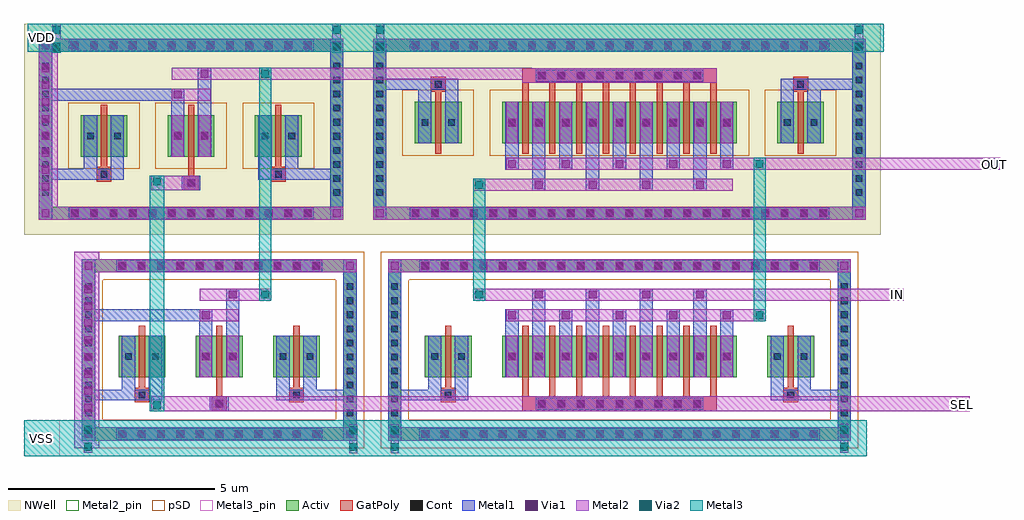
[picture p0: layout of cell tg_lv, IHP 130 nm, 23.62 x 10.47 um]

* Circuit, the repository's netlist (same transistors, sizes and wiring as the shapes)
* Extracted by KLayout with SG13G2 LVS runset on : 16/03/2026 17:51

.SUBCKT tg_lv VSS SEL OUT IN VDD
M$1 VSS VSS VSS VSS sg13_lv_nmos L=0.15u W=4u AS=1.96p AD=1.96p PS=11.92u
+ PD=11.92u
M$2 VSS SEL \$6 VSS sg13_lv_nmos L=0.15u W=1u AS=0.49p AD=0.49p PS=2.98u
+ PD=2.98u
M$5 OUT SEL IN VSS sg13_lv_nmos L=0.15u W=8u AS=2.24p AD=2.24p PS=13.48u
+ PD=13.48u
M$14 VDD VDD VDD VDD sg13_lv_pmos L=0.15u W=4u AS=1.96p AD=1.96p PS=11.92u
+ PD=11.92u
M$15 VDD SEL \$6 VDD sg13_lv_pmos L=0.15u W=1u AS=0.49p AD=0.49p PS=2.98u
+ PD=2.98u
M$18 OUT \$6 IN VDD sg13_lv_pmos L=0.15u W=8u AS=2.24p AD=2.24p PS=13.48u
+ PD=13.48u
.ENDS tg_lv

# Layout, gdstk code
from math import pi, radians
import gdstk
lib = gdstk.Library(unit=1e-6, precision=5e-09)
def R(c, l, rs):  # rectangles x0, y0, x1, y1
    for r in rs: c.add(gdstk.rectangle(r[:2], r[2:], *l))
def A(c, l, x, y, w, h, nx, ny, dx, dy):  # array of equal rectangles
    R(c, l, [(x+i*dx, y+j*dy, x+i*dx+w, y+j*dy+h) for i in range(nx) for j in range(ny)])
def P(c, l, *ps):  # polygons
    for p in ps: c.add(gdstk.Polygon(p, *l))
Activ = (1, 0)
GatPoly = (5, 0)
Cont = (6, 0)
Metal1 = (8, 0)
Metal2 = (10, 0)
Metal2_pin = (10, 2)
pSD = (14, 0)
Via1 = (19, 0)
Via2 = (29, 0)
Metal3 = (30, 0)
Metal3_pin = (30, 2)
NWell = (31, 0)

via_stack_1 = lib.new_cell('via_stack$1')
R(via_stack_1, Metal2, [(-0.1,-0.35,0.1,0.35)])
R(via_stack_1, Via2, [(-0.095,-0.3,0.095,-0.11), (-0.095,0.11,0.095,0.3)])
R(via_stack_1, Metal3, [(-0.1,-0.35,0.1,0.35)])

via_stack = lib.new_cell('via_stack')
R(via_stack, Metal1, [(-0.105,-1.58,0.105,1.58)])
R(via_stack, Metal2, [(-0.1,-1.58,0.1,1.58)])
A(via_stack, Via1, -0.095, -1.53, 0.19, 0.19, 1, 8, 0, 0.41)

tg_lv = lib.new_cell('tg_lv')
A(tg_lv, Activ, -12.195, -2.195, 0.32, 0.32, 11, 2, 0.47, 4.07)
A(tg_lv, Activ, -4.86, -2.195, 0.32, 0.32, 21, 2, 0.47, 4.07)
A(tg_lv, Activ, -13.01, -1.69, 0.32, 0.32, 1, 10, 0, 0.34)
A(tg_lv, Activ, -6.68, -1.69, 0.32, 0.32, 1, 10, 0, 0.34)
A(tg_lv, Activ, -5.6, -1.69, 0.32, 0.32, 1, 10, 0, 0.34)
A(tg_lv, Activ, 5.28, -1.69, 0.32, 0.32, 1, 10, 0, 0.34)
A(tg_lv, Activ, -12.12, -0.66, 1.13, 1, 3, 1, 1.87, 0)
A(tg_lv, Activ, -13.345, 3.145, 0.32, 0.32, 13, 2, 0.47, 4.07)
A(tg_lv, Activ, -5.095, 3.145, 0.32, 0.32, 22, 2, 0.47, 4.07)
A(tg_lv, Activ, -14.05, 3.65, 0.32, 0.32, 1, 10, 0, 0.34)
A(tg_lv, Activ, -7, 3.65, 0.32, 0.32, 1, 10, 0, 0.34)
A(tg_lv, Activ, -5.96, 3.65, 0.32, 0.32, 1, 10, 0, 0.34)
A(tg_lv, Activ, 5.64, 3.65, 0.32, 0.32, 1, 10, 0, 0.34)
A(tg_lv, Activ, -13.04, 4.68, 1.13, 1, 3, 1, 2.11, 0)
R(tg_lv, Activ, [(-12.195,-2.195,-7.175,-1.875), (-4.86,-2.195,4.86,-1.875), (-13.01,-1.69,-12.69,1.69), (-6.68,-1.69,-6.36,1.69), (-5.6,-1.69,-5.28,1.69), (5.28,-1.69,5.6,1.69), (-4.71,-0.66,-3.58,0.34), (-2.84,-0.66,2.84,0.34), (3.58,-0.66,4.71,0.34), (-12.195,1.875,-7.175,2.195), (-4.86,1.875,4.86,2.195), (-13.345,3.145,-7.385,3.465), (-5.095,3.145,5.095,3.465), (-14.05,3.65,-13.73,7.03), (-7,3.65,-6.68,7.03), (-5.96,3.65,-5.64,7.03), (5.64,3.65,5.96,7.03), (-4.95,5,-3.82,6), (-2.84,5,2.84,6), (3.82,5,4.95,6), (-13.345,7.215,-7.385,7.535), (-5.095,7.215,5.095,7.535)])
P(tg_lv, Activ, [(-5.6,-2.195),(-5.6,-1.875),(-5.28,-1.875),(5.28,-1.875),(5.28,1.875),(-5.28,1.875),(-5.28,-1.875),(-5.6,-1.875),(-5.6,2.195),(5.6,2.195),(5.6,-2.195)],
  [(-13.01,-2.195),(-13.01,-1.875),(-12.69,-1.875),(-6.68,-1.875),(-6.68,1.875),(-12.69,1.875),(-12.69,-1.875),(-13.01,-1.875),(-13.01,2.195),(-6.36,2.195),(-6.36,-2.195)],
  [(-14.05,3.145),(-14.05,3.465),(-13.73,3.465),(-7,3.465),(-7,7.215),(-13.73,7.215),(-13.73,3.465),(-14.05,3.465),(-14.05,7.535),(-6.68,7.535),(-6.68,3.145)],
  [(-5.96,3.145),(-5.96,7.215),(-5.64,7.215),(-5.64,3.465),(5.64,3.465),(5.64,7.215),(-5.64,7.215),(-5.96,7.215),(-5.96,7.535),(5.96,7.535),(5.96,3.145)])
A(tg_lv, GatPoly, -2.35, -1.12, 0.15, 0.21, 8, 2, 0.65, 7.37)
A(tg_lv, GatPoly, -11.63, -0.91, 0.15, 1.5, 3, 1, 1.87, 0)
A(tg_lv, GatPoly, -2.35, -0.91, 0.15, 1.5, 8, 2, 0.65, 5.66)
A(tg_lv, GatPoly, -12.55, 4.43, 0.15, 1.5, 3, 1, 2.11, 0)
R(tg_lv, GatPoly, [(-9.865,-1.48,-9.505,-1.12), (-9.865,-1.48,-9.505,-1.12), (-9.865,-1.48,-9.505,-1.12), (-9.865,-1.48,-9.505,-1.12), (-2.35,-1.48,2.35,-1.12), (-2.35,-1.48,2.35,-1.12), (-2.06,-1.48,-1.7,-1.12), (-2.06,-1.48,-1.7,-1.12), (-1.59,-1.48,-1.23,-1.12), (-1.59,-1.48,-1.23,-1.12), (-1.12,-1.48,-0.76,-1.12), (-1.12,-1.48,-0.76,-1.12), (-0.65,-1.48,-0.29,-1.12), (-0.65,-1.48,-0.29,-1.12), (-0.18,-1.48,0.18,-1.12), (-0.18,-1.48,0.18,-1.12), (0.29,-1.48,0.65,-1.12), (0.29,-1.48,0.65,-1.12), (0.76,-1.48,1.12,-1.12), (0.76,-1.48,1.12,-1.12), (1.23,-1.48,1.59,-1.12), (1.23,-1.48,1.59,-1.12), (1.7,-1.48,2.06,-1.12), (1.7,-1.48,2.06,-1.12), (-11.735,-1.27,-11.375,-0.91), (-11.735,-1.27,-11.375,-0.91), (-7.995,-1.27,-7.635,-0.91), (-7.995,-1.27,-7.635,-0.91), (-4.325,-1.27,-3.965,-0.91), (-4.325,-1.27,-3.965,-0.91), (3.965,-1.27,4.325,-0.91), (3.965,-1.27,4.325,-0.91), (-9.76,-1.12,-9.61,-0.91), (-4.22,-0.91,-4.07,0.59), (4.07,-0.91,4.22,0.59), (-10.545,3.86,-10.185,4.22), (-10.545,3.86,-10.185,4.22), (-10.545,3.86,-10.185,4.22), (-10.545,3.86,-10.185,4.22), (-12.655,4.07,-12.295,4.43), (-12.655,4.07,-12.295,4.43), (-8.435,4.07,-8.075,4.43), (-8.435,4.07,-8.075,4.43), (-10.44,4.22,-10.29,4.43), (-4.46,4.75,-4.31,6.25), (4.31,4.75,4.46,6.25), (-4.565,6.25,-4.205,6.61), (-4.565,6.25,-4.205,6.61), (4.205,6.25,4.565,6.61), (4.205,6.25,4.565,6.61), (-2.35,6.46,2.35,6.82), (-2.35,6.46,2.35,6.82), (-2.06,6.46,-1.7,6.82), (-2.06,6.46,-1.7,6.82), (-1.59,6.46,-1.23,6.82), (-1.59,6.46,-1.23,6.82), (-1.12,6.46,-0.76,6.82), (-1.12,6.46,-0.76,6.82), (-0.65,6.46,-0.29,6.82), (-0.65,6.46,-0.29,6.82), (-0.18,6.46,0.18,6.82), (-0.18,6.46,0.18,6.82), (0.29,6.46,0.65,6.82), (0.29,6.46,0.65,6.82), (0.76,6.46,1.12,6.82), (0.76,6.46,1.12,6.82), (1.23,6.46,1.59,6.82), (1.23,6.46,1.59,6.82), (1.7,6.46,2.06,6.82), (1.7,6.46,2.06,6.82)])
A(tg_lv, Cont, -12.115, -2.115, 0.16, 0.16, 11, 2, 0.47, 4.07)
A(tg_lv, Cont, -4.78, -2.115, 0.16, 0.16, 21, 2, 0.47, 4.07)
A(tg_lv, Cont, -12.93, -1.61, 0.16, 0.16, 1, 10, 0, 0.34)
A(tg_lv, Cont, -6.6, -1.61, 0.16, 0.16, 1, 10, 0, 0.34)
A(tg_lv, Cont, -5.52, -1.61, 0.16, 0.16, 1, 10, 0, 0.34)
A(tg_lv, Cont, 5.36, -1.61, 0.16, 0.16, 1, 10, 0, 0.34)
A(tg_lv, Cont, -2.68, -0.24, 0.16, 0.16, 9, 2, 0.65, 5.66)
A(tg_lv, Cont, -13.265, 3.225, 0.16, 0.16, 13, 2, 0.47, 4.07)
A(tg_lv, Cont, -5.015, 3.225, 0.16, 0.16, 22, 2, 0.47, 4.07)
A(tg_lv, Cont, -13.97, 3.73, 0.16, 0.16, 1, 10, 0, 0.34)
A(tg_lv, Cont, -6.92, 3.73, 0.16, 0.16, 1, 10, 0, 0.34)
A(tg_lv, Cont, -5.88, 3.73, 0.16, 0.16, 1, 10, 0, 0.34)
A(tg_lv, Cont, 5.72, 3.73, 0.16, 0.16, 1, 10, 0, 0.34)
R(tg_lv, Cont, [(-9.765,-1.38,-9.605,-1.22), (-9.765,-1.38,-9.605,-1.22), (-1.96,-1.38,-1.8,-1.22), (-1.96,-1.38,-1.8,-1.22), (-1.49,-1.38,-1.33,-1.22), (-1.49,-1.38,-1.33,-1.22), (-1.02,-1.38,-0.86,-1.22), (-1.02,-1.38,-0.86,-1.22), (-0.55,-1.38,-0.39,-1.22), (-0.55,-1.38,-0.39,-1.22), (-0.08,-1.38,0.08,-1.22), (-0.08,-1.38,0.08,-1.22), (0.39,-1.38,0.55,-1.22), (0.39,-1.38,0.55,-1.22), (0.86,-1.38,1.02,-1.22), (0.86,-1.38,1.02,-1.22), (1.33,-1.38,1.49,-1.22), (1.33,-1.38,1.49,-1.22), (1.8,-1.38,1.96,-1.22), (1.8,-1.38,1.96,-1.22), (-11.635,-1.17,-11.475,-1.01), (-7.895,-1.17,-7.735,-1.01), (-4.225,-1.17,-4.065,-1.01), (4.065,-1.17,4.225,-1.01), (-11.96,-0.24,-11.8,-0.08), (-11.31,-0.24,-11.15,-0.08), (-10.09,-0.24,-9.93,-0.08), (-9.44,-0.24,-9.28,-0.08), (-8.22,-0.24,-8.06,-0.08), (-7.57,-0.24,-7.41,-0.08), (-4.55,-0.24,-4.39,-0.08), (-3.9,-0.24,-3.74,-0.08), (3.74,-0.24,3.9,-0.08), (4.39,-0.24,4.55,-0.08), (-10.445,3.96,-10.285,4.12), (-10.445,3.96,-10.285,4.12), (-12.555,4.17,-12.395,4.33), (-8.335,4.17,-8.175,4.33), (-12.88,5.1,-12.72,5.26), (-12.23,5.1,-12.07,5.26), (-10.77,5.1,-10.61,5.26), (-10.12,5.1,-9.96,5.26), (-8.66,5.1,-8.5,5.26), (-8.01,5.1,-7.85,5.26), (-4.79,5.42,-4.63,5.58), (-4.14,5.42,-3.98,5.58), (3.98,5.42,4.14,5.58), (4.63,5.42,4.79,5.58), (-4.465,6.35,-4.305,6.51), (4.305,6.35,4.465,6.51), (-1.96,6.56,-1.8,6.72), (-1.96,6.56,-1.8,6.72), (-1.49,6.56,-1.33,6.72), (-1.49,6.56,-1.33,6.72), (-1.02,6.56,-0.86,6.72), (-1.02,6.56,-0.86,6.72), (-0.55,6.56,-0.39,6.72), (-0.55,6.56,-0.39,6.72), (-0.08,6.56,0.08,6.72), (-0.08,6.56,0.08,6.72), (0.39,6.56,0.55,6.72), (0.39,6.56,0.55,6.72), (0.86,6.56,1.02,6.72), (0.86,6.56,1.02,6.72), (1.33,6.56,1.49,6.72), (1.33,6.56,1.49,6.72), (1.8,6.56,1.96,6.72), (1.8,6.56,1.96,6.72)])
A(tg_lv, Metal1, -12.18, -2.18, 0.29, 0.29, 11, 2, 0.47, 4.07)
A(tg_lv, Metal1, -4.845, -2.18, 0.29, 0.29, 21, 2, 0.47, 4.07)
A(tg_lv, Metal1, -12.98, -1.66, 0.26, 0.26, 1, 10, 0, 0.34)
A(tg_lv, Metal1, -6.65, -1.66, 0.26, 0.26, 1, 10, 0, 0.34)
A(tg_lv, Metal1, -5.57, -1.66, 0.26, 0.26, 1, 10, 0, 0.34)
A(tg_lv, Metal1, 5.31, -1.66, 0.26, 0.26, 1, 10, 0, 0.34)
A(tg_lv, Metal1, -2.76, -0.66, 0.32, 1, 9, 2, 0.65, 5.66)
A(tg_lv, Metal1, -2.73, -0.29, 0.26, 0.26, 9, 2, 0.65, 5.66)
A(tg_lv, Metal1, -2.76, 0.34, 0.32, 0.645, 5, 2, 1.3, 4.015)
A(tg_lv, Metal1, -2.11, 0.34, 0.32, 1.145, 4, 2, 1.3, 3.515)
A(tg_lv, Metal1, -2.745, 0.695, 0.29, 0.29, 5, 2, 1.3, 3.66)
A(tg_lv, Metal1, -2.095, 1.195, 0.29, 0.29, 4, 2, 1.3, 2.66)
A(tg_lv, Metal1, -13.33, 3.16, 0.29, 0.29, 13, 2, 0.47, 4.07)
A(tg_lv, Metal1, -5.08, 3.16, 0.29, 0.29, 22, 2, 0.47, 4.07)
A(tg_lv, Metal1, -14.02, 3.68, 0.26, 0.26, 1, 10, 0, 0.34)
A(tg_lv, Metal1, -6.97, 3.68, 0.26, 0.26, 1, 10, 0, 0.34)
A(tg_lv, Metal1, -5.93, 3.68, 0.26, 0.26, 1, 10, 0, 0.34)
A(tg_lv, Metal1, 5.67, 3.68, 0.26, 0.26, 1, 10, 0, 0.34)
R(tg_lv, Metal1, [(-13.01,-2.195,-12.69,-1.875), (-6.68,-2.195,-6.36,-1.875), (-5.6,-2.195,-5.28,-1.875), (5.28,-2.195,5.6,-1.875), (-12.995,-2.18,-12.705,-1.89), (-12.995,-2.18,-12.705,-1.89), (-12.18,-2.18,-7.19,-1.89), (-6.665,-2.18,-6.375,-1.89), (-6.665,-2.18,-6.375,-1.89), (-5.585,-2.18,-5.295,-1.89), (-5.585,-2.18,-5.295,-1.89), (-4.845,-2.18,4.845,-1.89), (5.295,-2.18,5.585,-1.89), (5.295,-2.18,5.585,-1.89), (-13.01,-1.875,-12.69,1.875), (-6.68,-1.875,-6.36,1.875), (-5.6,-1.875,-5.28,1.875), (5.28,-1.875,5.6,1.875), (-9.91,-1.48,-9.46,-1.12), (-9.83,-1.445,-9.54,-1.155), (-9.83,-1.445,-9.54,-1.155), (-9.83,-1.445,-9.54,-1.155), (-9.83,-1.445,-9.54,-1.155), (-2.025,-1.445,-1.735,-1.155), (-2.025,-1.445,-1.735,-1.155), (-2.025,-1.445,2.025,-1.155), (-2.025,-1.445,2.025,-1.155), (-1.555,-1.445,-1.265,-1.155), (-1.555,-1.445,-1.265,-1.155), (-1.085,-1.445,-0.795,-1.155), (-1.085,-1.445,-0.795,-1.155), (-0.615,-1.445,-0.325,-1.155), (-0.615,-1.445,-0.325,-1.155), (-0.145,-1.445,0.145,-1.155), (-0.145,-1.445,0.145,-1.155), (0.325,-1.445,0.615,-1.155), (0.325,-1.445,0.615,-1.155), (0.795,-1.445,1.085,-1.155), (0.795,-1.445,1.085,-1.155), (1.265,-1.445,1.555,-1.155), (1.265,-1.445,1.555,-1.155), (1.735,-1.445,2.025,-1.155), (1.735,-1.445,2.025,-1.155), (-13.01,-1.22,-11.685,-0.96), (-12.04,-1.22,-11.685,-0.96), (-12.04,-1.22,-11.72,-0.66), (-11.685,-1.22,-11.425,-0.96), (-11.425,-1.22,-11.07,-0.96), (-11.39,-1.22,-11.07,-0.66), (-8.3,-1.22,-7.945,-0.96), (-8.3,-1.22,-7.98,-0.66), (-7.945,-1.22,-7.685,-0.96), (-7.945,-1.22,-6.36,-0.96), (-7.685,-1.22,-7.33,-0.96), (-7.65,-1.22,-7.33,-0.66), (-5.6,-1.22,-4.275,-0.96), (-4.63,-1.22,-4.275,-0.96), (-4.63,-1.22,-4.31,-0.66), (-4.275,-1.22,-4.015,-0.96), (-4.015,-1.22,-3.66,-0.96), (-3.98,-1.22,-3.66,-0.66), (3.66,-1.22,4.015,-0.96), (3.66,-1.22,3.98,-0.66), (4.015,-1.22,4.275,-0.96), (4.015,-1.22,5.6,-0.96), (4.275,-1.22,4.63,-0.96), (4.31,-1.22,4.63,-0.66), (-12.04,-0.66,-11.72,0.34), (-11.39,-0.66,-11.07,0.34), (-10.17,-0.66,-9.85,0.34), (-9.52,-0.66,-9.2,0.34), (-8.3,-0.66,-7.98,0.34), (-7.65,-0.66,-7.33,0.34), (-4.63,-0.66,-4.31,0.34), (-3.98,-0.66,-3.66,0.34), (3.66,-0.66,3.98,0.34), (4.31,-0.66,4.63,0.34), (-10.155,-0.305,-9.865,-0.015), (-10.155,-0.305,-9.865,-0.015), (-9.505,-0.305,-9.215,-0.015), (-9.505,-0.305,-9.215,-0.015), (-2.745,-0.305,-2.455,-0.015), (-2.745,-0.305,-2.455,-0.015), (-2.095,-0.305,-1.805,-0.015), (-2.095,-0.305,-1.805,-0.015), (-1.445,-0.305,-1.155,-0.015), (-1.445,-0.305,-1.155,-0.015), (-0.795,-0.305,-0.505,-0.015), (-0.795,-0.305,-0.505,-0.015), (-0.145,-0.305,0.145,-0.015), (-0.145,-0.305,0.145,-0.015), (0.505,-0.305,0.795,-0.015), (0.505,-0.305,0.795,-0.015), (1.155,-0.305,1.445,-0.015), (1.155,-0.305,1.445,-0.015), (1.805,-0.305,2.095,-0.015), (1.805,-0.305,2.095,-0.015), (2.455,-0.305,2.745,-0.015), (2.455,-0.305,2.745,-0.015), (-12.01,-0.29,-11.75,-0.03), (-11.36,-0.29,-11.1,-0.03), (-10.14,-0.29,-9.88,-0.03), (-9.49,-0.29,-9.23,-0.03), (-8.27,-0.29,-8.01,-0.03), (-7.62,-0.29,-7.36,-0.03), (-4.6,-0.29,-4.34,-0.03), (-3.95,-0.29,-3.69,-0.03), (3.69,-0.29,3.95,-0.03), (4.34,-0.29,4.6,-0.03), (-10.17,0.34,-9.85,0.985), (-9.52,0.34,-9.2,1.485), (-13.01,0.695,-10.155,0.985), (-10.155,0.695,-9.865,0.985), (-10.155,0.695,-9.865,0.985), (-10.155,0.695,-9.865,0.985), (-9.505,1.195,-9.215,1.485), (-13.01,1.875,-12.69,2.195), (-6.68,1.875,-6.36,2.195), (-5.6,1.875,-5.28,2.195), (5.28,1.875,5.6,2.195), (-12.995,1.89,-12.705,2.18), (-12.995,1.89,-12.705,2.18), (-12.18,1.89,-7.19,2.18), (-6.665,1.89,-6.375,2.18), (-6.665,1.89,-6.375,2.18), (-5.585,1.89,-5.295,2.18), (-5.585,1.89,-5.295,2.18), (-4.845,1.89,4.845,2.18), (5.295,1.89,5.585,2.18), (5.295,1.89,5.585,2.18), (-14.05,3.145,-13.73,3.465), (-7,3.145,-6.68,3.465), (-5.96,3.145,-5.64,3.465), (5.64,3.145,5.96,3.465), (-14.035,3.16,-13.745,3.45), (-14.035,3.16,-13.745,3.45), (-13.33,3.16,-7.4,3.45), (-6.985,3.16,-6.695,3.45), (-6.985,3.16,-6.695,3.45), (-5.945,3.16,-5.655,3.45), (-5.945,3.16,-5.655,3.45), (-5.08,3.16,5.08,3.45), (5.655,3.16,5.945,3.45), (5.655,3.16,5.945,3.45), (-14.05,3.465,-13.73,7.215), (-7,3.465,-6.68,7.215), (-5.96,3.465,-5.64,7.215), (5.64,3.465,5.96,7.215), (-10.59,3.86,-10.14,4.22), (-10.51,3.895,-10.22,4.185), (-10.51,3.895,-10.22,4.185), (-10.51,3.895,-10.22,4.185), (-10.51,3.895,-10.22,4.185), (-14.05,4.12,-12.605,4.38), (-12.96,4.12,-12.605,4.38), (-12.96,4.12,-12.64,4.68), (-12.605,4.12,-12.345,4.38), (-12.345,4.12,-11.99,4.38), (-12.31,4.12,-11.99,4.68), (-8.74,4.12,-8.385,4.38), (-8.74,4.12,-8.42,4.68), (-8.385,4.12,-8.125,4.38), (-8.385,4.12,-6.68,4.38), (-8.125,4.12,-7.77,4.38), (-8.09,4.12,-7.77,4.68), (-12.96,4.68,-12.64,5.68), (-12.31,4.68,-11.99,5.68), (-10.85,4.68,-10.53,5.68), (-10.2,4.68,-9.88,5.68), (-8.74,4.68,-8.42,5.68), (-8.09,4.68,-7.77,5.68), (-4.87,5,-4.55,6), (-4.22,5,-3.9,6), (3.9,5,4.22,6), (4.55,5,4.87,6), (-10.835,5.035,-10.545,5.325), (-10.835,5.035,-10.545,5.325), (-10.185,5.035,-9.895,5.325), (-10.185,5.035,-9.895,5.325), (-12.93,5.05,-12.67,5.31), (-12.28,5.05,-12.02,5.31), (-10.82,5.05,-10.56,5.31), (-10.17,5.05,-9.91,5.31), (-8.71,5.05,-8.45,5.31), (-8.06,5.05,-7.8,5.31), (-2.745,5.355,-2.455,5.645), (-2.745,5.355,-2.455,5.645), (-2.095,5.355,-1.805,5.645), (-2.095,5.355,-1.805,5.645), (-1.445,5.355,-1.155,5.645), (-1.445,5.355,-1.155,5.645), (-0.795,5.355,-0.505,5.645), (-0.795,5.355,-0.505,5.645), (-0.145,5.355,0.145,5.645), (-0.145,5.355,0.145,5.645), (0.505,5.355,0.795,5.645), (0.505,5.355,0.795,5.645), (1.155,5.355,1.445,5.645), (1.155,5.355,1.445,5.645), (1.805,5.355,2.095,5.645), (1.805,5.355,2.095,5.645), (2.455,5.355,2.745,5.645), (2.455,5.355,2.745,5.645), (-4.84,5.37,-4.58,5.63), (-4.19,5.37,-3.93,5.63), (3.93,5.37,4.19,5.63), (4.58,5.37,4.84,5.63), (-10.85,5.68,-10.53,6.325), (-10.2,5.68,-9.88,6.825), (-4.87,6,-4.55,6.56), (-4.22,6,-3.9,6.56), (3.9,6,4.22,6.56), (4.55,6,4.87,6.56), (-14.05,6.035,-10.835,6.325), (-10.835,6.035,-10.545,6.325), (-10.835,6.035,-10.545,6.325), (-10.835,6.035,-10.545,6.325), (-5.96,6.3,-4.515,6.56), (-4.87,6.3,-4.515,6.56), (-4.515,6.3,-4.255,6.56), (-4.255,6.3,-3.9,6.56), (3.9,6.3,4.255,6.56), (4.255,6.3,4.515,6.56), (4.255,6.3,5.96,6.56), (4.515,6.3,4.87,6.56), (-2.025,6.495,-1.735,6.785), (-2.025,6.495,-1.735,6.785), (-2.025,6.495,2.025,6.785), (-2.025,6.495,2.025,6.785), (-1.555,6.495,-1.265,6.785), (-1.555,6.495,-1.265,6.785), (-1.085,6.495,-0.795,6.785), (-1.085,6.495,-0.795,6.785), (-0.615,6.495,-0.325,6.785), (-0.615,6.495,-0.325,6.785), (-0.145,6.495,0.145,6.785), (-0.145,6.495,0.145,6.785), (0.325,6.495,0.615,6.785), (0.325,6.495,0.615,6.785), (0.795,6.495,1.085,6.785), (0.795,6.495,1.085,6.785), (1.265,6.495,1.555,6.785), (1.265,6.495,1.555,6.785), (1.735,6.495,2.025,6.785), (1.735,6.495,2.025,6.785), (-10.185,6.535,-9.895,6.825), (-14.05,7.215,-13.73,7.535), (-7,7.215,-6.68,7.535), (-5.96,7.215,-5.64,7.535), (5.64,7.215,5.96,7.535), (-14.035,7.23,-13.745,7.52), (-14.035,7.23,-13.745,7.52), (-13.33,7.23,-7.4,7.52), (-6.985,7.23,-6.695,7.52), (-6.985,7.23,-6.695,7.52), (-5.945,7.23,-5.655,7.52), (-5.945,7.23,-5.655,7.52), (-5.08,7.23,5.08,7.52), (5.655,7.23,5.945,7.52), (5.655,7.23,5.945,7.52)])
A(tg_lv, Metal2, -12.18, -2.18, 0.29, 0.29, 11, 2, 0.47, 4.07)
A(tg_lv, Metal2, -4.845, -2.18, 0.29, 0.29, 21, 2, 0.47, 4.07)
A(tg_lv, Metal2, -2.745, -0.66, 0.29, 1, 9, 2, 0.65, 5.66)
A(tg_lv, Metal2, -2.745, -0.305, 0.29, 0.29, 9, 2, 0.65, 5.66)
A(tg_lv, Metal2, -2.745, 0.695, 0.29, 0.29, 5, 2, 1.3, 3.66)
A(tg_lv, Metal2, -2.095, 1.195, 0.29, 0.29, 4, 2, 1.3, 2.66)
A(tg_lv, Metal2, -13.33, 3.16, 0.29, 0.29, 13, 2, 0.47, 4.07)
A(tg_lv, Metal2, -5.08, 3.16, 0.29, 0.29, 22, 2, 0.47, 4.07)
R(tg_lv, Metal2, [(-13.19,-2.375,-12.585,2.375), (-13.01,-2.195,-12.69,-1.875), (-13.01,-2.195,-12.69,-1.875), (-12.69,-2.195,-6.68,-1.875), (-6.68,-2.195,-6.36,-1.875), (-6.68,-2.195,-6.36,-1.875), (-5.6,-2.195,-5.28,-1.875), (-5.6,-2.195,-5.28,-1.875), (-5.28,-2.195,5.28,-1.875), (5.28,-2.195,5.6,-1.875), (5.28,-2.195,5.6,-1.875), (-12.995,-2.18,-12.705,-1.89), (-6.665,-2.18,-6.375,-1.89), (-5.585,-2.18,-5.295,-1.89), (5.295,-2.18,5.585,-1.89), (-11.335,-1.48,-11.045,-1.19), (-11.335,-1.48,-9.865,-1.12), (-9.865,-1.48,2.35,-1.12), (-9.865,-1.48,-9.505,-1.12), (-9.865,-1.48,-9.505,-1.12), (-2.35,-1.48,2.35,-1.12), (-2.35,-1.48,2.35,-1.12), (2.35,-1.48,8.475,-1.12), (-9.83,-1.445,-9.54,-1.155), (-9.83,-1.445,-9.54,-1.155), (-2.025,-1.445,-1.735,-1.155), (-2.025,-1.445,-1.735,-1.155), (-1.555,-1.445,-1.265,-1.155), (-1.555,-1.445,-1.265,-1.155), (-1.085,-1.445,-0.795,-1.155), (-1.085,-1.445,-0.795,-1.155), (-0.615,-1.445,-0.325,-1.155), (-0.615,-1.445,-0.325,-1.155), (-0.145,-1.445,0.145,-1.155), (-0.145,-1.445,0.145,-1.155), (0.325,-1.445,0.615,-1.155), (0.325,-1.445,0.615,-1.155), (0.795,-1.445,1.085,-1.155), (0.795,-1.445,1.085,-1.155), (1.265,-1.445,1.555,-1.155), (1.265,-1.445,1.555,-1.155), (1.735,-1.445,2.025,-1.155), (1.735,-1.445,2.025,-1.155), (-10.155,-0.66,-9.865,0.34), (-9.505,-0.66,-9.215,0.34), (-10.155,-0.305,-9.865,-0.015), (-9.505,-0.305,-9.215,-0.015), (-10.155,0.695,-9.865,0.985), (-10.155,0.695,-9.865,0.985), (-10.155,0.695,-9.215,0.985), (-2.745,0.695,2.745,0.985), (2.745,0.695,3.535,0.985), (3.245,0.695,3.535,0.985), (-10.155,1.195,-9.215,1.485), (-9.505,1.195,-9.215,1.485), (-9.215,1.195,-8.425,1.485), (-8.715,1.195,-8.425,1.485), (-3.535,1.195,-3.245,1.485), (-3.535,1.195,-2.745,1.485), (-2.745,1.195,2.745,1.485), (-2.745,1.195,6.88,1.485), (-13.01,1.875,-12.69,2.195), (-13.01,1.875,-12.69,2.195), (-12.69,1.875,-6.68,2.195), (-6.68,1.875,-6.36,2.195), (-6.68,1.875,-6.36,2.195), (-5.6,1.875,-5.28,2.195), (-5.6,1.875,-5.28,2.195), (-5.28,1.875,5.28,2.195), (5.28,1.875,5.6,2.195), (5.28,1.875,5.6,2.195), (-12.995,1.89,-12.705,2.18), (-6.665,1.89,-6.375,2.18), (-5.585,1.89,-5.295,2.18), (5.295,1.89,5.585,2.18), (-14.05,3.145,-13.73,3.465), (-14.05,3.145,-13.73,3.465), (-14.05,3.145,-13.59,7.535), (-13.73,3.145,-7,3.465), (-7,3.145,-6.68,3.465), (-7,3.145,-6.68,3.465), (-5.96,3.145,-5.64,3.465), (-5.96,3.145,-5.64,3.465), (-5.64,3.145,5.64,3.465), (5.64,3.145,5.96,3.465), (5.64,3.145,5.96,3.465), (-14.035,3.16,-13.745,3.45), (-6.985,3.16,-6.695,3.45), (-5.945,3.16,-5.655,3.45), (5.655,3.16,5.945,3.45), (-3.535,3.855,-3.245,4.145), (-3.535,3.855,-2.745,4.145), (-2.745,3.855,2.745,4.145), (-11.335,3.86,-10.545,4.22), (-10.545,3.86,-10.185,4.22), (-10.545,3.86,-10.185,4.22), (-10.51,3.895,-10.22,4.185), (-10.51,3.895,-10.22,4.185), (-11.335,3.93,-11.045,4.22), (-2.745,4.355,2.745,4.645), (2.745,4.355,3.535,4.645), (2.745,4.355,9.21,4.645), (3.245,4.355,3.535,4.645), (-10.835,4.68,-10.545,5.68), (-10.185,4.68,-9.895,5.68), (-10.835,5.035,-10.545,5.325), (-10.185,5.035,-9.895,5.325), (-10.835,6.035,-10.545,6.325), (-10.835,6.035,-10.545,6.325), (-10.835,6.035,-9.895,6.325), (-2.35,6.46,2.35,6.82), (-2.35,6.46,2.35,6.82), (-2.025,6.495,-1.735,6.785), (-2.025,6.495,-1.735,6.785), (-1.555,6.495,-1.265,6.785), (-1.555,6.495,-1.265,6.785), (-1.085,6.495,-0.795,6.785), (-1.085,6.495,-0.795,6.785), (-0.615,6.495,-0.325,6.785), (-0.615,6.495,-0.325,6.785), (-0.145,6.495,0.145,6.785), (-0.145,6.495,0.145,6.785), (0.325,6.495,0.615,6.785), (0.325,6.495,0.615,6.785), (0.795,6.495,1.085,6.785), (0.795,6.495,1.085,6.785), (1.265,6.495,1.555,6.785), (1.265,6.495,1.555,6.785), (1.735,6.495,2.025,6.785), (1.735,6.495,2.025,6.785), (-10.835,6.535,-9.895,6.825), (-10.185,6.535,-9.895,6.825), (-9.895,6.535,-8.425,6.825), (-8.96,6.535,-2.125,6.825), (-8.715,6.535,-8.425,6.825), (-14.05,7.215,-13.73,7.535), (-14.05,7.215,-13.73,7.535), (-13.73,7.215,-7,7.535), (-7,7.215,-6.68,7.535), (-7,7.215,-6.68,7.535), (-5.96,7.215,-5.64,7.535), (-5.96,7.215,-5.64,7.535), (-5.64,7.215,5.64,7.535), (5.64,7.215,5.96,7.535), (5.64,7.215,5.96,7.535), (-14.035,7.23,-13.745,7.52), (-6.985,7.23,-6.695,7.52), (-5.945,7.23,-5.655,7.52), (5.655,7.23,5.945,7.52)])
R(tg_lv, Metal2_pin, [(8.16,-1.45,8.44,-1.17), (6.6,1.2,6.88,1.48), (8.93,4.355,9.21,4.635)])
A(tg_lv, pSD, -13.34, 4.38, 1.73, 1.6, 3, 1, 2.11, 0)
R(tg_lv, pSD, [(-5.25,4.7,-3.52,6.3), (-3.14,4.7,3.14,6.3), (3.52,4.7,5.25,6.3)])
P(tg_lv, pSD, [(-5.78,-2.375),(-5.78,-1.695),(-5.1,-1.695),(5.1,-1.695),(5.1,1.695),(-5.1,1.695),(-5.1,-1.695),(-5.78,-1.695),(-5.78,2.375),(5.78,2.375),(5.78,-2.375)],
  [(-13.19,-2.375),(-13.19,-1.695),(-12.51,-1.695),(-6.86,-1.695),(-6.86,1.695),(-12.51,1.695),(-12.51,-1.695),(-13.19,-1.695),(-13.19,2.375),(-6.18,2.375),(-6.18,-2.375)])
A(tg_lv, Via1, -12.13, -2.13, 0.19, 0.19, 11, 2, 0.47, 4.07)
A(tg_lv, Via1, -4.795, -2.13, 0.19, 0.19, 21, 2, 0.47, 4.07)
A(tg_lv, Via1, -2.695, -0.255, 0.19, 0.19, 9, 2, 0.65, 5.66)
A(tg_lv, Via1, -2.695, 0.745, 0.19, 0.19, 5, 2, 1.3, 3.66)
A(tg_lv, Via1, -2.045, 1.245, 0.19, 0.19, 4, 2, 1.3, 2.66)
A(tg_lv, Via1, -13.28, 3.21, 0.19, 0.19, 13, 2, 0.47, 4.07)
A(tg_lv, Via1, -5.03, 3.21, 0.19, 0.19, 22, 2, 0.47, 4.07)
R(tg_lv, Via1, [(-12.945,-2.13,-12.755,-1.94), (-6.615,-2.13,-6.425,-1.94), (-5.535,-2.13,-5.345,-1.94), (5.345,-2.13,5.535,-1.94), (-9.78,-1.395,-9.59,-1.205), (-9.78,-1.395,-9.59,-1.205), (-1.975,-1.395,-1.785,-1.205), (-1.975,-1.395,-1.785,-1.205), (-1.505,-1.395,-1.315,-1.205), (-1.505,-1.395,-1.315,-1.205), (-1.035,-1.395,-0.845,-1.205), (-1.035,-1.395,-0.845,-1.205), (-0.565,-1.395,-0.375,-1.205), (-0.565,-1.395,-0.375,-1.205), (-0.095,-1.395,0.095,-1.205), (-0.095,-1.395,0.095,-1.205), (0.375,-1.395,0.565,-1.205), (0.375,-1.395,0.565,-1.205), (0.845,-1.395,1.035,-1.205), (0.845,-1.395,1.035,-1.205), (1.315,-1.395,1.505,-1.205), (1.315,-1.395,1.505,-1.205), (1.785,-1.395,1.975,-1.205), (1.785,-1.395,1.975,-1.205), (-10.105,-0.255,-9.915,-0.065), (-9.455,-0.255,-9.265,-0.065), (-10.105,0.745,-9.915,0.935), (-10.105,0.745,-9.915,0.935), (-9.455,1.245,-9.265,1.435), (-12.945,1.94,-12.755,2.13), (-6.615,1.94,-6.425,2.13), (-5.535,1.94,-5.345,2.13), (5.345,1.94,5.535,2.13), (-13.985,3.21,-13.795,3.4), (-6.935,3.21,-6.745,3.4), (-5.895,3.21,-5.705,3.4), (5.705,3.21,5.895,3.4), (-10.46,3.945,-10.27,4.135), (-10.46,3.945,-10.27,4.135), (-10.785,5.085,-10.595,5.275), (-10.135,5.085,-9.945,5.275), (-10.785,6.085,-10.595,6.275), (-10.785,6.085,-10.595,6.275), (-1.975,6.545,-1.785,6.735), (-1.975,6.545,-1.785,6.735), (-1.505,6.545,-1.315,6.735), (-1.505,6.545,-1.315,6.735), (-1.035,6.545,-0.845,6.735), (-1.035,6.545,-0.845,6.735), (-0.565,6.545,-0.375,6.735), (-0.565,6.545,-0.375,6.735), (-0.095,6.545,0.095,6.735), (-0.095,6.545,0.095,6.735), (0.375,6.545,0.565,6.735), (0.375,6.545,0.565,6.735), (0.845,6.545,1.035,6.735), (0.845,6.545,1.035,6.735), (1.315,6.545,1.505,6.735), (1.315,6.545,1.505,6.735), (1.785,6.545,1.975,6.735), (1.785,6.545,1.975,6.735), (-10.135,6.585,-9.945,6.775), (-13.985,7.28,-13.795,7.47), (-6.935,7.28,-6.745,7.47), (-5.895,7.28,-5.705,7.47), (5.705,7.28,5.895,7.47)])
R(tg_lv, Via2, [(-11.285,-1.43,-11.095,-1.24), (3.295,0.745,3.485,0.935), (-8.665,1.245,-8.475,1.435), (-3.485,1.245,-3.295,1.435), (-3.485,3.905,-3.295,4.095), (-11.285,3.98,-11.095,4.17), (3.295,4.405,3.485,4.595), (-8.665,6.585,-8.475,6.775)])
R(tg_lv, Metal3, [(-14.41,-2.575,5.98,-1.7), (-11.37,-1.48,-11.01,4.22), (-11.335,-1.48,-11.045,-1.19), (-11.335,-1.48,-11.045,-1.19), (-11.045,-1.48,-11.01,-1.19), (3.245,0.695,3.535,0.985), (3.245,0.695,3.535,0.985), (3.245,0.695,3.535,4.645), (-8.715,1.195,-8.425,1.485), (-8.715,1.195,-8.425,1.485), (-8.715,1.195,-8.425,6.825), (-3.535,1.195,-3.245,1.485), (-3.535,1.195,-3.245,1.485), (-3.535,1.195,-3.245,4.145), (-3.535,3.855,-3.245,4.145), (-3.535,3.855,-3.245,4.145), (-11.335,3.93,-11.045,4.22), (-11.335,3.93,-11.045,4.22), (-11.045,3.93,-11.01,4.22), (3.245,4.355,3.535,4.645), (3.245,4.355,3.535,4.645), (-8.715,6.535,-8.425,6.825), (-8.715,6.535,-8.425,6.825), (-14.325,7.215,6.4,7.895)])
P(tg_lv, Metal3, [(-8.425,1.195),(-8.425,1.485),(-8.425,1.485),(-8.425,1.195)],
  [(-8.425,6.535),(-8.425,6.825),(-8.425,6.825),(-8.425,6.535)],
  [(-3.245,1.195),(-3.245,1.485),(-3.245,1.485),(-3.245,1.195)],
  [(-3.245,3.855),(-3.245,4.145),(-3.245,4.145),(-3.245,3.855)],
  [(3.535,0.695),(3.535,0.985),(3.535,0.985),(3.535,0.695)],
  [(3.535,4.355),(3.535,4.645),(3.535,4.645),(3.535,4.355)])
R(tg_lv, Metal3_pin, [(-14.41,-2.57,-13.54,-1.7), (-14.325,7.215,-13.645,7.895)])
R(tg_lv, NWell, [(-14.41,2.785,-6.32,7.895), (-6.32,2.785,6.32,7.895)])
tg_lv.add(gdstk.Reference(via_stack_1, (-13.625,7.545), rotation=pi))
tg_lv.add(gdstk.Reference(via_stack_1, (-6.845,7.545)))
tg_lv.add(gdstk.Reference(via_stack_1, (-5.79,7.545)))
tg_lv.add(gdstk.Reference(via_stack_1, (5.795,7.54)))
tg_lv.add(gdstk.Reference(via_stack_1, (5.44,-2.14)))
tg_lv.add(gdstk.Reference(via_stack_1, (-5.44,-2.145)))
tg_lv.add(gdstk.Reference(via_stack_1, (-12.86,-2.14)))
tg_lv.add(gdstk.Reference(via_stack_1, (-6.44,-2.145)))
tg_lv.add(gdstk.Reference(via_stack, (-13.89,5.385)))
tg_lv.add(gdstk.Reference(via_stack, (-12.855,0.035)))
tg_lv.add(gdstk.Label('VDD', (-13.985,7.555), layer=30, texttype=25))
tg_lv.add(gdstk.Label('VSS', (-13.975,-2.135), layer=30, texttype=25))
tg_lv.add(gdstk.Label('IN', (6.74,1.34), layer=10, texttype=25))
tg_lv.add(gdstk.Label('OUT', (9.07,4.495), layer=10, texttype=25))
tg_lv.add(gdstk.Label('SEL', (8.3,-1.31), layer=10, texttype=25))

lib.write_gds('tg_lv.gds')
